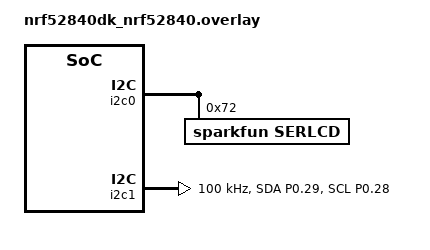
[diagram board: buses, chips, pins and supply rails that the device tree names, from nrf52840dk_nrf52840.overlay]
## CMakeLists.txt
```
cmake_minimum_required(VERSION 3.20.0)
find_package(Zephyr REQUIRED HINTS $ENV{ZEPHYR_BASE})

project(fram)

target_sources(app PRIVATE src/main.c)
```

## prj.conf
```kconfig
CONFIG_I2C=y
CONFIG_AUXDISPLAY=y
CONFIG_AUXDISPLAY_SERLCD=y
```

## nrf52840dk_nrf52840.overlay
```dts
&i2c0 {
    serlcd@72 {
		status = "okay";
		compatible = "sparkfun,serlcd";
		reg = <0x72>;
		columns = <16>;
		rows = <2>;
		command-delay-ms = <10>;
		special-command-delay-ms = <50>;
	  };
  };

&i2c1 {
	status = "okay";
	compatible = "nordic,nrf-twim";
	pinctrl-0 = <&i2c1_default>;
	pinctrl-1 = <&i2c1_sleep>;
	pinctrl-names = "default", "sleep";
	clock-frequency = <100000>; 
};

&pinctrl {
	i2c1_default: i2c1_default{
		group1 {
			psels = <NRF_PSEL(TWIM_SDA, 0, 29)>,
			<NRF_PSEL(TWIM_SCL, 0, 28)>;
			bias-pull-up;
		};
	};
	i2c1_sleep: i2c1_sleep{
		group1 {
			psels = <NRF_PSEL(TWIM_SDA, 0, 29)>,
				<NRF_PSEL(TWIM_SCL, 0, 28)>;
			low-power-enable;
		};
	};
};
```

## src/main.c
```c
#include <zephyr/kernel.h>

#include <zephyr/drivers/i2c.h>
#include <zephyr/drivers/auxdisplay.h>
#include <zephyr/sys/printk.h>


const struct device *const serLcd_dev = DEVICE_DT_GET(DT_CHILD(DT_NODELABEL(i2c0), serlcd_72));

// i2c1_dev --> use generic i2c driver for MB85RC256V FRAM chip
/*

Write format:
I2C address word                S = start condition
┌─┬────┬──┬──┬──┬─┬───┬───      A2,A1,A0 = pin states of A2,1,0 on MB85RC256V
│S│1010│A2│A1│A0│0│ACK│...      0 = 0 for write, 1 for read
└─┴────┴──┴──┴──┴─┴───┴───      ACK = ackowledge from MB85RC256V
FRAM write address                      
───┬────────┬───┬────────┬───┬───       Addr MSB = MSB of 16-bit write address
...│Addr MSB│ACK│Addr LSB│ACK│...       Addr MSB = LSB of 16-bit write address
───┴────────┴───┴────────┴───┴───       
Data byte (Writing one byte)            
───┬─────────┬───┬─┐               P = stop condition
...│Sent Byte│ACK│P│               
───┴─────────┴───┴─┘               
Data bytes (Writing many bytes)    
───┬─────────┬───┬───────────────┬───┬─┐        More data bytes can be any amount
...│Sent Byte│ACK│More sent bytes│ACK│P│        and does not need to be split by ACKs
───┴─────────┴───┴───────────────┴───┴─┘        

Read format:
 I2C address word                                   
 ┌─┬────┬──┬──┬──┬─┬───┬───                         
 │S│1010│A2│A1│A0│0│ACK│...                         
 └─┴────┴──┴──┴──┴─┴───┴───                         
 FRAM read address                                  
 ───┬────────┬───┬────────┬───┬───                  
 ...│Addr MSB│ACK│Addr LSB│ACK│...                  
 ───┴────────┴───┴────────┴───┴───                  
 I2C address word (again with 1 for R/W bit)        
 ───┬─┬────┬──┬──┬──┬─┬───┬───                      
 ...│S│1010│A2│A1│A0│1│ACK│...                      
 ───┴─┴────┴──┴──┴──┴─┴───┴───                      
 Data byte (reading one byte)                       
 ───┬─────────┬────┬─┐            NACK = not acknowledge from controller
 ...│Read Byte│NACK│P│                              
 ───┴─────────┴────┴─┘                              
 Data bytes (reading many bytes)                    
 ───┬─────────┬─────┬─────────┬───┬─────────┬────┬─┐    ACK-C = acknowledge from controller
 ...│Read Byte│ACK-C│Read Byte│...│Read Byte│NACK│P│
 ───┴─────────┴─────┴─────────┴───┴─────────┴────┴─┘

Note that when writing or reading sequentially, there is no limit to how much you can 
write or read. Once the maximum address (15 bit, so 0x7FFF or 0b0111111111111111 or 0d32767) 
is reached, it will roll back to 0x0000.

*/

const struct device *i2c1_dev = DEVICE_DT_GET(DT_NODELABEL(i2c1));


// Address word is 1010<A2><A1><A0><R/W> where A0-2 are the state of the
// A0-2 pins on the physical device. Pull down resistors internal to
// the fram chip make A0-2 all low by default. R/W is 0 for write and
// is 1 for read.
uint16_t framAddrWrite = 0x50; // 0b01010000
uint16_t framAddrRead = 0x51; // 0b01010001

int writeFramByte(uint8_t addrMsb, uint8_t addrLsb, uint8_t* data) {

        uint8_t writeBuf[] = {addrMsb, addrLsb, 0x45};

        return i2c_write(i2c1_dev, writeBuf, sizeof(writeBuf), 0x120);
        
}

int readFram(uint8_t addrMsb, uint8_t addrLsb, uint8_t* data, uint8_t readLen) {

        uint8_t writeBuf[] = {addrMsb, addrLsb};

        return i2c_write_read(
                i2c1_dev, 
                framAddrWrite,
                writeBuf, 
                sizeof(writeBuf), 
                data,
                readLen
        );
}


int main(void)
{

        if (!device_is_ready(serLcd_dev)) {
                printk("AUX NOT READY TO BE PASSED :(\n");
		return 0;
	}

        if (auxdisplay_cursor_set_enabled(serLcd_dev, true)) {
                printk("CURSOR NOT ENABLED :(\n");
	}

        if ( !device_is_ready(i2c1_dev)) {
                printk("GENERIC I2C NOT READY :(\n");
                return 0;
        }

        uint8_t data0[] = {0x45};
        uint8_t data1[] = {0xFF};
        uint8_t txBuf[] = {0x00,0x00,0x45};

        printk("Before read/write data0: [%d], data1: [%d]\n", data0[0], data1[0]);

        int status = 200;

        //status = writeFramByte(0x00,0x00,data0);

        status = i2c_write(
                i2c1_dev,
                txBuf,
                sizeof(txBuf),
                0b01010000
        );

        printk("Status after write: [%d]\n", status);

        k_msleep(10);

        //status = readFram(
        //        0x00,
        //        0x00,
        //        data1,
        //        sizeof(uint8_t)
        //);

        status = i2c_write_read(
                i2c1_dev,
                0b01010000, //0x50,
                txBuf,
                2,
                data1,
                1
        );

        printk("Status after read: [%d]\n", status);

        printk("After read/write data0: [%d], data1: [%d]\n", data0[0], data1[0]);


        return 0;
}
```
